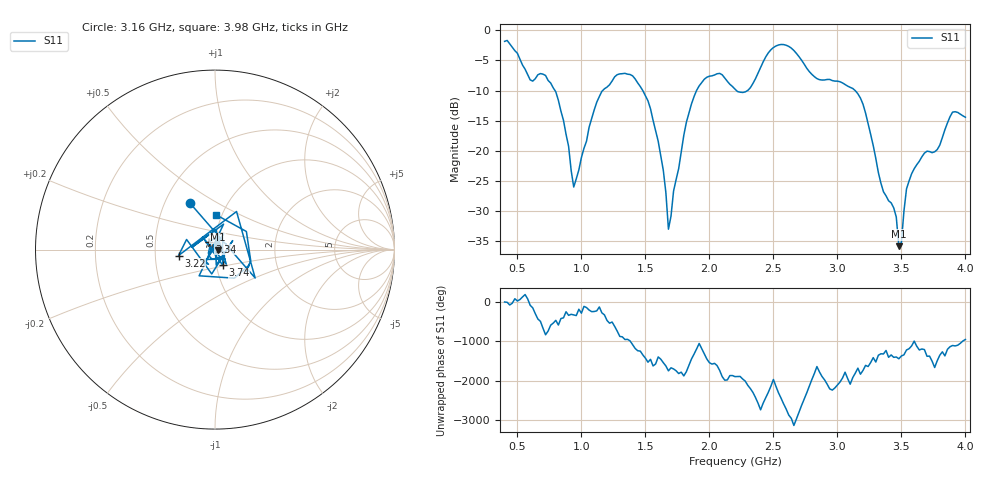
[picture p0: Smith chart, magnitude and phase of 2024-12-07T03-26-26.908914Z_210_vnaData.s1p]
!Created with skrf (http://scikit-rf.org).
# Hz S RI R 50.0
!freq ReS11 ImS11
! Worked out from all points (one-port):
!   181 points, 400 MHz to 4 GHz, reference 50 ohm
!   lowest |S11| = -35.8 dB at 3.48 GHz (marker M1), VSWR 1.03, Z = 51.6 - j0.0671 ohm
!   |S11| at or under -10 dB: 793.8 MHz to 1.166 GHz (371.8 MHz wide, 38 % of centre); 1.48 GHz to 1.899 GHz (419.7 MHz wide, 24.8 % of centre); 3.139 GHz to end of sweep (the widest 3 of 4)
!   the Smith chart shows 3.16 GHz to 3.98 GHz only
!   S11 on the Smith chart (normalised r, x): 3.16 GHz: 0.66, +0.38; 3.22 GHz: 0.66, -0.05; 3.34 GHz: 0.94, +0.08; 3.74 GHz: 1.07, -0.19; 3.98 GHz: 0.93, +0.38
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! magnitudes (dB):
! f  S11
! 400 MHz  -1.8
! 600 MHz  -8.2
! 720 MHz  -7.5
! 860 MHz  -14.9
! 940 MHz  -26.0
! 1.12 GHz  -11.9
! 1.3 GHz  -7.2
! 1.54 GHz  -13.0
! 1.64 GHz  -23.3
! 1.68 GHz  -33.0
! 1.76 GHz  -22.9
! 1.82 GHz  -15.3
! 1.92 GHz  -9.2
! 2.2 GHz  -9.8
! 2.32 GHz  -9.5
! 2.5 GHz  -2.9
! 2.66 GHz  -3.3
! 3.1 GHz  -9.5
! 3.16 GHz  -10.5
! 3.22 GHz  -13.7
! 3.34 GHz  -25.4
! 3.44 GHz  -29.5
! 3.48 GHz  -35.8
! 3.56 GHz  -25.0
! 3.74 GHz  -20.3
! 3.9 GHz  -13.6
! 3.98 GHz  -14.2
! 4 GHz  -14.4
